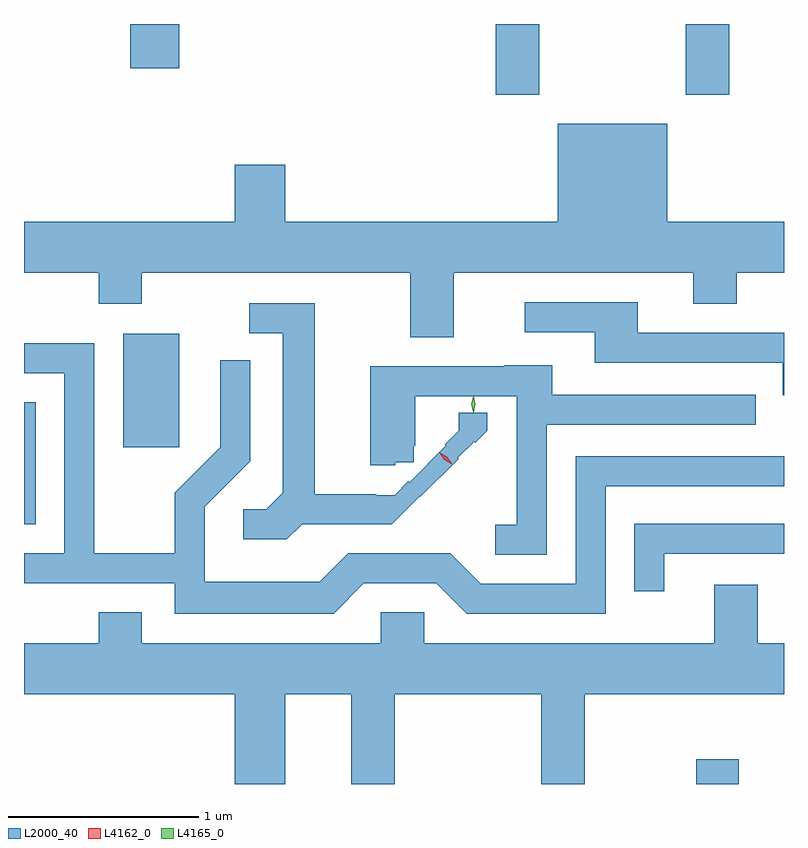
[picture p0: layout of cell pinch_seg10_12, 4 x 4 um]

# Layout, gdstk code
import gdstk
lib = gdstk.Library(unit=1e-6, precision=1e-09)
def R(c, l, rs):  # rectangles x0, y0, x1, y1
    for r in rs: c.add(gdstk.rectangle(r[:2], r[2:], *l))
def P(c, l, *ps):  # polygons
    for p in ps: c.add(gdstk.Polygon(p, *l))
L2000_40 = (2000, 40)
L4162_0 = (4162, 0)
L4165_0 = (4165, 0)

pinch_seg10_12 = lib.new_cell('pinch_seg10_12')
R(pinch_seg10_12, L2000_40, [(657.066,2104.564,657.289,2104.694), (653.528,2105.931,653.589,2106.574), (654.051,2106.336,654.344,2106.934), (656.011,2108.191,656.239,2108.564), (657.011,2108.191,657.239,2108.564), (654.086,2108.331,654.344,2108.564)])
P(pinch_seg10_12, L2000_40, [(655.789,2107.256),(657.051,2107.256),(657.051,2107.091),(657.279,2107.091),(657.279,2107.256),(657.528,2107.256),(657.528,2107.524),(656.914,2107.524),(656.914,2108.039),(656.336,2108.039),(656.336,2107.524),(654.904,2107.524),(654.904,2107.824),(654.636,2107.824),(654.636,2107.524),(653.528,2107.524),(653.528,2107.256),(653.921,2107.256),(653.921,2107.091),(654.149,2107.091),(654.149,2107.256),(655.561,2107.256),(655.561,2106.916),(655.789,2106.916)],
  [(657.528,2106.939),(656.759,2106.939),(656.759,2107.099),(656.163,2107.099),(656.163,2106.941),(656.531,2106.941),(656.531,2106.781),(657.521,2106.781),(657.521,2106.611),(657.528,2106.611)],
  [(654.992,2105.931),(655.464,2105.931),(655.611,2106.078),(655.614,2106.075),(655.816,2106.276),(655.812,2106.28),(655.897,2106.365),(655.902,2106.36),(655.965,2106.423),(655.965,2106.518),(655.815,2106.518),(655.815,2106.424),(655.742,2106.35),(655.749,2106.343),(655.557,2106.152),(655.551,2106.157),(655.479,2106.085),(655.382,2106.085),(655.382,2106.089),(655.059,2106.089),(655.059,2107.094),(654.713,2107.094),(654.713,2106.936),(654.891,2106.936),(654.891,2106.097),(654.804,2106.009),(654.683,2106.009),(654.683,2105.851),(654.912,2105.851)],
  [(655.317,2105.621),(655.699,2105.621),(655.859,2105.461),(656.589,2105.461),(656.589,2106.131),(657.528,2106.131),(657.528,2106.289),(656.431,2106.289),(656.431,2105.619),(655.932,2105.619),(655.772,2105.779),(655.234,2105.779),(655.084,2105.629),(654.479,2105.629),(654.479,2106.024),(654.719,2106.264),(654.719,2106.793),(654.561,2106.793),(654.561,2106.337),(654.321,2106.097),(654.321,2105.779),(653.899,2105.779),(653.899,2106.884),(653.528,2106.884),(653.528,2106.726),(653.741,2106.726),(653.741,2105.779),(653.528,2105.779),(653.528,2105.621),(654.321,2105.621),(654.321,2105.461),(655.157,2105.461)],
  [(656.279,2106.456),(657.378,2106.456),(657.378,2106.614),(656.309,2106.614),(656.309,2106.769),(656.055,2106.769),(656.055,2106.764),(655.351,2106.764),(655.351,2106.241),(655.482,2106.241),(655.482,2106.258),(655.578,2106.258),(655.578,2106.345),(655.588,2106.345),(655.588,2106.606),(656.121,2106.606),(656.121,2105.929),(656.008,2105.929),(656.008,2105.771),(656.279,2105.771)],
  [(656.899,2105.776),(657.528,2105.776),(657.528,2105.934),(656.741,2105.934),(656.741,2105.578),(656.899,2105.578)],
  [(656.251,2104.564),(656.479,2104.564),(656.479,2105.036),(657.528,2105.036),(657.528,2105.304),(657.389,2105.304),(657.389,2105.614),(657.161,2105.614),(657.161,2105.304),(655.634,2105.304),(655.634,2105.469),(655.406,2105.469),(655.406,2105.304),(654.149,2105.304),(654.149,2105.469),(653.921,2105.469),(653.921,2105.304),(653.528,2105.304),(653.528,2105.036),(654.636,2105.036),(654.636,2104.564),(654.904,2104.564),(654.904,2105.036),(655.251,2105.036),(655.251,2104.564),(655.479,2104.564),(655.479,2105.036),(656.251,2105.036)])
P(pinch_seg10_12, L4162_0, [(655.776,2106.25),(655.741,2106.27),(655.72,2106.304),(655.72,2106.304),(655.72,2106.304),(655.755,2106.284),(655.776,2106.251),(655.776,2106.25)],
  [(655.781,2106.247),(655.74,2106.271),(655.713,2106.309),(655.713,2106.31),(655.714,2106.31),(655.754,2106.286),(655.782,2106.248),(655.782,2106.247)])
P(pinch_seg10_12, L4165_0, [(655.894,2106.522),(655.894,2106.523),(655.884,2106.562),(655.894,2106.602),(655.894,2106.602),(655.895,2106.602),(655.904,2106.562),(655.895,2106.523)],
  [(655.893,2106.519),(655.893,2106.52),(655.883,2106.562),(655.893,2106.604),(655.893,2106.604),(655.894,2106.604),(655.903,2106.562),(655.894,2106.52)])

lib.write_gds('pinch_seg10_12.gds')
